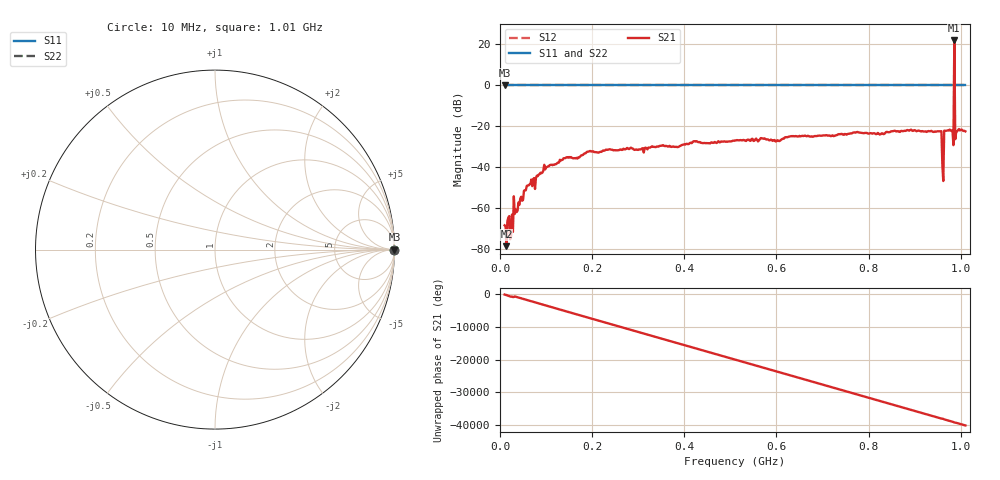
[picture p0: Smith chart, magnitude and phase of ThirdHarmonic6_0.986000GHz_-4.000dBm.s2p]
! 8/16/2025 7:43:13 AM
! C:\ANRITSUVNA\TEMP\TEMP.S2P
! CHANNEL.1
! TR.MEASUREMENT
! RAW.DATA
! RF.CORRECTION.OFF
! AVERAGING.OFF
! IF.BANDWIDTH: 5KHZ
! SWEEPTYPE:  FREQ.SWEEP(Linear)
! Reference Plane Port Info
! PORT:  PORT1  PORT2
! DISTANCE:  0  m  0  m
! TIME:  0  s  0  s
! PHASE.OFFSET:  0  deg.  0  deg.
! LOSS:  0  dB  0  dB
! REF.LOSS:  0  dB  0  dB
! REF.FREQ:  0  Hz  0  Hz
! Power Info
! POWER:  -20  dBm  -20  dBm
! EFF.POWER:  -20  dBm  -20  dBm
! SOURCE.ATTEN:  0  dB  0  dB
! TEST.ATTEN:  0  dB  0  dB
# GHZ S RI R 50.0
! FREQ.GHZ  S11RE  S11IM  S21RE  S21IM  S12RE  S12IM  S22RE  S22IM
!; PortSelection: Port_12
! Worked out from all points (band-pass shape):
!   501 points, 10 MHz to 1.01 GHz, reference 50 ohm
!   highest |S21| = 21.93 dB at 986 MHz (marker M1); lowest = -78.8 dB at 14 MHz (marker M2)
!   |S21| within 3 dB of the highest: 985.883 MHz to 986.1241 MHz (241.2 kHz wide, 0.0245 % of centre)
!   lowest |S11| = 0.0 dB at 10 MHz (marker M3)
!   |S11| at or under -10 dB: nowhere
!   |S22| runs from 0.0 to 0.0 dB; largest |S21 - S12| = 12
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0.01  1 0  -0.000254 -0.000271  1 0  1 0
0.014  1 0  1.14e-05 0.000114  1 0  1 0
0.024  1 0  9.72e-05 -0.000172  1 0  1 0
0.03  1 0  -0.00156 -0.00111  1 0  1 0
0.056  1 0  -0.000655 0.0026  1 0  1 0
0.098  1 0  -0.0084 -0.00223  1 0  1 0
0.142  1 0  -0.0152 -0.00639  1 0  1 0
0.178  1 0  -0.0187 -0.00478  1 0  1 0
0.344  1 0  0.0309 -0.00522  1 0  1 0
0.51  1 0  -0.0429 0.0119  1 0  1 0
0.678  1 0  -0.0168 -0.0519  1 0  1 0
0.844  1 0  0.0395 0.0586  1 0  1 0
0.954  1 0  0.0429 -0.0609  1 0  1 0
0.958  1 0  -0.061 0.0431  1 0  1 0
0.964  1 0  -0.0102 -0.0764  1 0  1 0
0.968  1 0  -0.0171 0.0747  1 0  1 0
0.98  1 0  0.0702 -0.0289  1 0  1 0
0.982  1 0  -0.016 -0.0772  1 0  1 0
0.986  1 0  7.862 9.707  1 0  1 0
0.99  1 0  0.0314 -0.0642  1 0  1 0
0.992  1 0  -0.0589 -0.0454  1 0  1 0
1.01  1 0  -0.0666 -0.033  1 0  1 0
